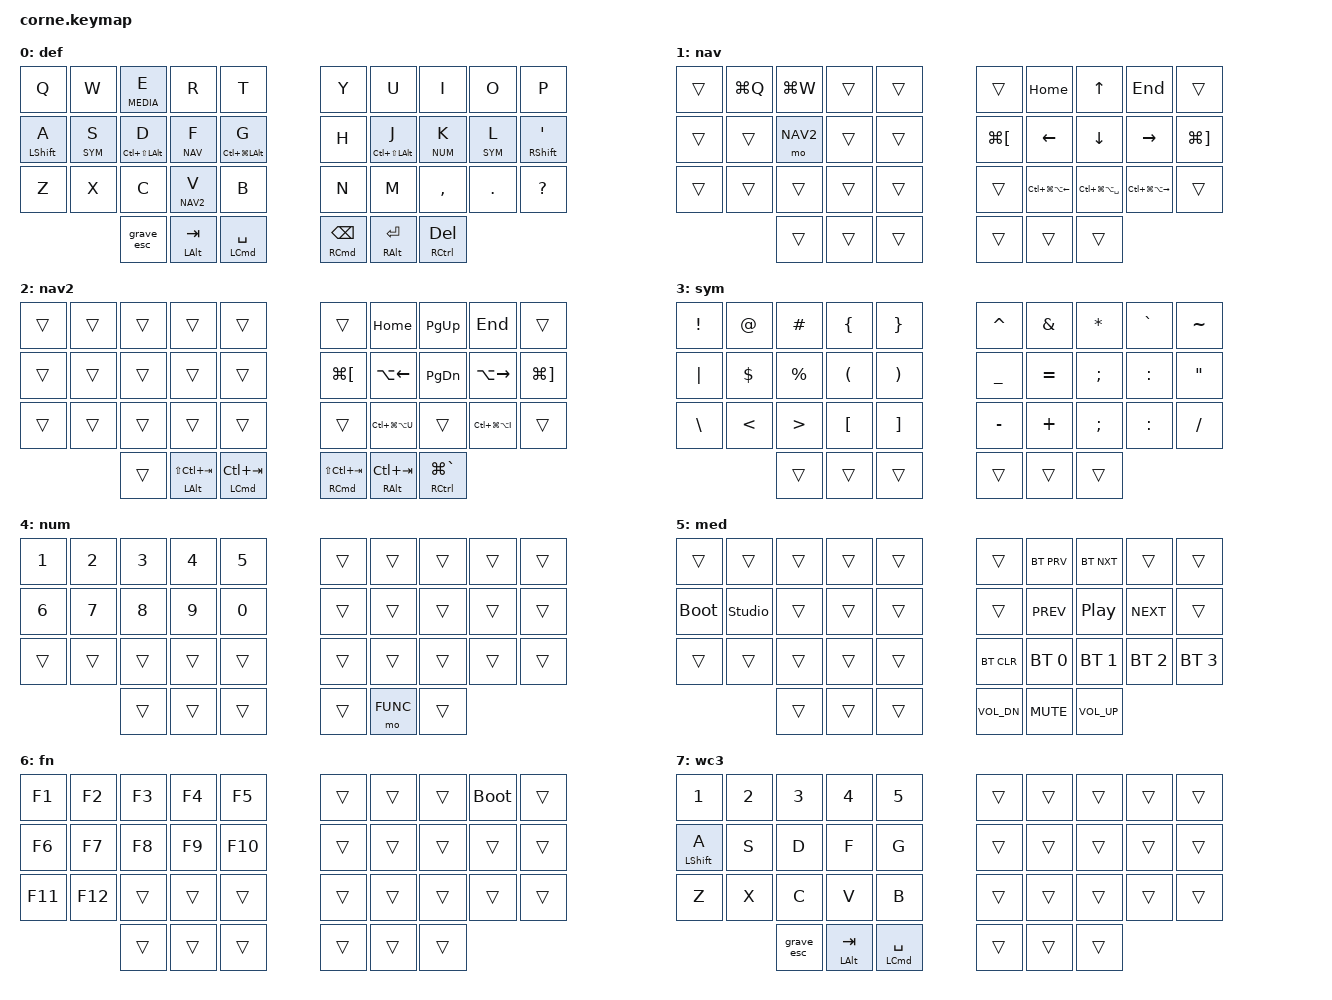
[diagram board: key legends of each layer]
#include <behaviors.dtsi>
#include <dt-bindings/zmk/keys.h>
#include <dt-bindings/zmk/bt.h>

#define DEFAULT    0
#define NAV        1
#define NAV2       2
#define SYM        3
#define NUM        4
#define MEDIA      5
#define FUNC       6
#define WC3        7

#define KEYS_L     0 1 2 3 4 10 11 12 13 14 20 21 22 23 24
#define KEYS_R     5 6 7 8 9 15 16 17 18 19 25 26 27 28 29
#define THUMBS     30 31 32 33 34 35

&caps_word {
  continue-list = <UNDERSCORE MINUS>;
};

&lt {
  tapping-term-ms = <150>;
};

/ {
  chosen {
    zmk,physical-layout = &foostan_corne_5col_layout;
  };

  combos {
    compatible = "zmk,combos";
    combo_game {
      timeout-ms = <50>;
      key-positions = <24 25>;
      bindings = <&tog WC3>;
    };
  };
};

/ {
  behaviors {
    hml: homerow_mods_left {
      compatible = "zmk,behavior-hold-tap";
      #binding-cells = <2>;
      flavor = "balanced";
      tapping-term-ms = <280>;
      quick-tap-ms = <175>;
      require-prior-idle-ms = <150>;
      bindings = <&kp>, <&kp>;
      hold-trigger-key-positions = <KEYS_R THUMBS>;
      hold-trigger-on-release;
    };
    hmr: homerow_mods_right {
      compatible = "zmk,behavior-hold-tap";
      #binding-cells = <2>;
      flavor = "balanced";
      tapping-term-ms = <280>;
      quick-tap-ms = <175>;
      require-prior-idle-ms = <150>;
      bindings = <&kp>, <&kp>;
      hold-trigger-key-positions = <KEYS_L THUMBS>;
      hold-trigger-on-release;
    };
    hmls: homerow_shift_left {
      compatible = "zmk,behavior-hold-tap";
      #binding-cells = <2>;
      flavor = "balanced";
      tapping-term-ms = <280>;
      quick-tap-ms = <175>;
      bindings = <&kp>, <&kp>;
      hold-trigger-key-positions = <KEYS_R THUMBS>;
      hold-trigger-on-release;
    };
    hmrs: homerow_shift_right {
      compatible = "zmk,behavior-hold-tap";
      #binding-cells = <2>;
      flavor = "balanced";
      tapping-term-ms = <280>;
      quick-tap-ms = <175>;
      bindings = <&kp>, <&kp>;
      hold-trigger-key-positions = <KEYS_L THUMBS>;
      hold-trigger-on-release;
    };
    hm: homerow_mods {
      compatible = "zmk,behavior-hold-tap";
      #binding-cells = <2>;
      tapping-term-ms = <150>; // produces tap if held longer than tapping-term-ms
      quick-tap-ms = <150>;    // if double tapped, long-tabs the key instead of hold
      flavor = "balanced";
      bindings = <&kp>, <&kp>;
    };
    grave_esc: grave_escape {
      compatible = "zmk,behavior-mod-morph";
      #binding-cells = <0>;
      bindings = <&hm LCTRL ESC>, <&kp GRAVE>;
      mods = <(MOD_LGUI|MOD_RGUI)>;
      keep-mods = <(MOD_LGUI|MOD_RGUI)>;
    };
  };
  keymap {
    compatible = "zmk,keymap";
    default_layer {
        display-name = "def";
        bindings = <
            &kp Q         &kp W         &lt MEDIA E         &kp R      &kp T                &kp Y          &kp U               &kp I           &kp O         &kp P
            &hmls LSHIFT A &lt SYM S     &hml LC(LS(LALT)) D &lt NAV F  &hml LC(LG(LALT)) G  &kp H          &hmr LC(LS(LALT)) J &lt NUM K       &lt SYM L     &hmrs RSHIFT SQT
            &kp Z         &kp X         &kp C               &lt NAV2 V &kp B                &kp N          &kp M               &kp COMMA       &kp DOT       &kp QMARK
                                                    &grave_esc    &hm LALT TAB  &hm LCMD SPACE       &hm RCMD BSPC  &hm RALT ENTER      &hm RCTRL DEL
        >;
    };
    nav_layer {
        display-name = "nav";
        bindings = <
            &trans  &kp LG(Q)  &kp LG(W)  &trans   &trans  &trans         &kp HOME             &kp UP                &kp END                 &trans
            &trans  &trans     &mo NAV2   &trans   &trans  &kp LG(LBKT)   &kp LEFT             &kp DOWN              &kp RIGHT               &kp LG(RBKT)
            &trans  &trans     &trans     &trans   &trans  &trans         &kp LC(LG(LA(LEFT))) &kp LC(LG(LA(SPACE))) &kp LC(LG(LA(RIGHT)))  &trans
                                  &trans     &trans   &trans  &trans         &trans               &trans
        >;
    };
    nav2_layer {
        display-name = "nav2";
        bindings = <
            &trans  &trans  &trans  &trans  &trans  &trans                &kp HOME           &kp PG_UP           &kp END            &trans
            &trans  &trans  &trans  &trans  &trans  &kp LG(LBKT)          &kp LA(LEFT)       &kp PG_DN           &kp LA(RIGHT)      &kp LG(RBKT)
            &trans  &trans  &trans  &trans  &trans  &trans                &kp LC(LG(LA(U)))  &trans              &kp LC(LG(LA(I)))  &trans
                                      &trans  &hm LALT LS(LC(TAB))  &hm LCMD LC(TAB)     &hm RCMD LS(LC(TAB))  &hm RALT LC(TAB)   &hm RCTRL LG(GRAVE)
        >;
    };
    sym_layer {
        display-name = "sym";
        bindings = <
            &kp EXCL  &kp AT    &kp HASH  &kp LBRC  &kp RBRC  &kp CARET  &kp AMPS  &kp ASTRK  &kp GRAVE  &kp TILDE
            &kp PIPE  &kp DLLR  &kp PRCNT &kp LPAR  &kp RPAR  &kp UNDER  &kp EQUAL &kp SEMI   &kp COLON  &kp DQT
            &kp BSLH  &kp LT    &kp GT    &kp LBKT  &kp RBKT  &kp MINUS  &kp PLUS  &kp SEMI   &kp COLON  &kp FSLH
                                  &trans    &trans    &trans     &trans     &trans    &trans
        >;
    };
    num_layer {
        display-name = "num";
        bindings = <
            &kp N1  &kp N2  &kp N3  &kp N4  &kp N5  &trans  &trans  &trans  &trans  &trans
            &kp N6  &kp N7  &kp N8  &kp N9  &kp N0  &trans  &trans  &trans  &trans  &trans
            &trans  &trans  &trans  &trans  &trans  &trans  &trans  &trans  &trans  &trans
                            &trans  &trans  &trans  &trans  &mo FUNC   &trans
        >;
    };
    media_layer {
        display-name = "med";
        bindings = <
            &trans  &trans           &trans  &trans  &trans  &trans        &bt BT_PRV    &bt BT_NXT        &trans        &trans
            &bootloader  &studio_unlock   &trans  &trans  &trans  &trans        &kp C_PREV    &kp C_PLAY_PAUSE  &kp C_NEXT    &trans
            &trans  &trans           &trans  &trans  &trans  &bt BT_CLR    &bt BT_SEL 0  &bt BT_SEL 1      &bt BT_SEL 2  &bt BT_SEL 3
                                            &trans  &trans  &trans     &kp C_VOL_DN  &kp C_MUTE    &kp C_VOL_UP
        >;
    };
    func_layer {
        display-name = "fn";
        bindings = <
            &kp F1   &kp F2   &kp F3  &kp F4  &kp F5   &trans  &trans  &trans  &bootloader  &trans
            &kp F6   &kp F7   &kp F8  &kp F9  &kp F10  &trans  &trans  &trans  &trans  &trans
            &kp F11  &kp F12  &trans  &trans  &trans   &trans  &trans  &trans  &trans  &trans
                                      &trans  &trans  &trans  &trans  &trans  &trans
            >;
    };
    wc3_layer {
        display-name = "wc3";
        bindings = <
            &kp N1        &kp N2  &kp N3  &kp N4  &kp N5  &trans  &trans  &trans  &trans  &trans
            &hmls LSHIFT A &kp S   &kp D   &kp F   &kp G   &trans  &trans  &trans  &trans  &trans
            &kp Z         &kp X   &kp C   &kp V   &kp B   &trans  &trans  &trans  &trans  &trans
                     &grave_esc  &hm LALT TAB  &hm LCMD SPACE  &trans  &trans  &trans
            >;
    };
  };
};
